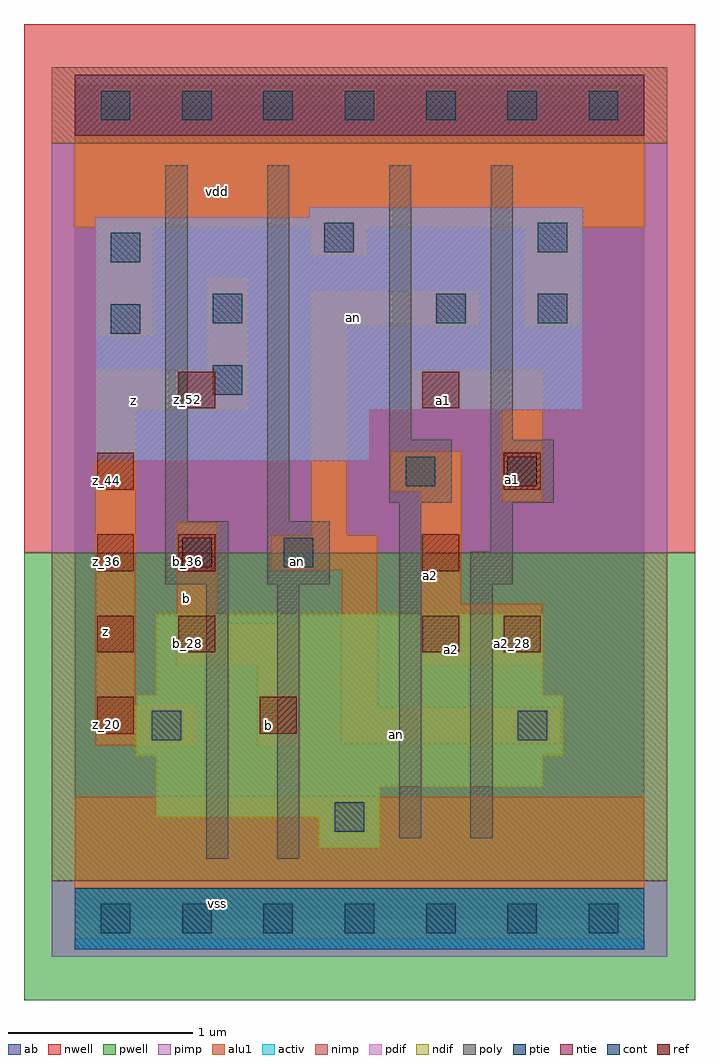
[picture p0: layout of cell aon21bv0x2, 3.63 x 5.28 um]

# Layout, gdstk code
import gdstk
lib = gdstk.Library(unit=1e-6, precision=2.5e-09)
def R(c, l, rs):  # rectangles x0, y0, x1, y1
    for r in rs: c.add(gdstk.rectangle(r[:2], r[2:], *l))
def A(c, l, x, y, w, h, nx, ny, dx, dy):  # array of equal rectangles
    R(c, l, [(x+i*dx, y+j*dy, x+i*dx+w, y+j*dy+h) for i in range(nx) for j in range(ny)])
ndif = (3, 0)
pdif = (4, 0)
ntie = (5, 0)
ptie = (6, 0)
ref = (24, 0)
cont = (25, 0)
pwell = (41, 0)
nwell = (42, 0)
activ = (43, 0)
pimp = (44, 0)
nimp = (45, 0)
poly = (46, 0)
alu1 = (49, 0)
ab = (63, 0)

aon21bv0x2 = lib.new_cell('aon21bv0x2')
R(aon21bv0x2, ndif, [(1.32,0.385,1.65,0.55), (0.44,0.55,1.65,0.715), (0.44,0.715,2.53,0.88), (0.33,0.88,2.64,1.21), (0.44,1.21,2.53,1.65)])
R(aon21bv0x2, pdif, [(0.11,2.475,1.595,2.75), (0.11,2.75,2.75,3.795), (1.265,3.795,2.75,3.85)])
R(aon21bv0x2, ntie, [(0,4.235,3.08,4.565)])
R(aon21bv0x2, ptie, [(0,-0.165,3.08,0.165)])
A(aon21bv0x2, ref, 0.12, 1, 0.2, 0.2, 1, 4, 0, 0.44)
R(aon21bv0x2, ref, [(1,1,1.2,1.2), (0.56,1.44,0.76,1.64), (1.88,1.44,2.08,1.64), (2.32,1.44,2.52,1.64), (0.56,1.88,0.76,2.08), (1.88,1.88,2.08,2.08), (2.32,2.32,2.52,2.52), (0.56,2.76,0.76,2.96), (1.88,2.76,2.08,2.96)])
A(aon21bv0x2, cont, 0.14, -0.08, 0.16, 0.16, 7, 2, 0.44, 4.4)
R(aon21bv0x2, cont, [(1.405,0.47,1.565,0.63), (0.415,0.965,0.575,1.125), (2.395,0.965,2.555,1.125), (0.58,1.9,0.74,2.06), (1.13,1.9,1.29,2.06), (1.79,2.34,1.95,2.5), (2.34,2.34,2.5,2.5), (0.745,2.835,0.905,2.995), (0.195,3.165,0.355,3.325), (0.745,3.22,0.905,3.38), (1.955,3.22,2.115,3.38), (2.505,3.22,2.665,3.38), (0.195,3.55,0.355,3.71), (1.35,3.605,1.51,3.765), (2.505,3.605,2.665,3.765)])
R(aon21bv0x2, pwell, [(-0.275,-0.44,3.355,1.98)])
R(aon21bv0x2, nwell, [(-0.275,1.98,3.355,4.84)])
R(aon21bv0x2, activ, [(0,-0.165,3.08,0.165), (1.32,0.385,1.65,0.55), (0.44,0.55,1.65,0.715), (0.44,0.715,2.53,0.88), (0.33,0.88,2.64,1.21), (0.44,1.21,2.53,1.65), (0.11,2.475,1.595,2.75), (0.11,2.75,2.75,3.795), (1.265,3.795,2.75,3.85), (0,4.235,3.08,4.565)])
R(aon21bv0x2, pimp, [(-0.125,-0.205,3.205,0.205), (-0.125,1.98,3.205,4.195)])
R(aon21bv0x2, nimp, [(-0.125,0.205,3.205,1.98), (-0.125,4.195,3.205,4.605)])
R(aon21bv0x2, poly, [(0.71,0.325,0.83,1.81), (1.095,0.325,1.215,1.81), (1.755,0.435,1.875,2.25), (2.14,0.435,2.26,1.81), (0.49,1.81,0.83,2.15), (1.04,1.81,1.38,2.15), (2.14,1.81,2.37,1.985), (2.25,1.985,2.37,2.25), (0.49,2.15,0.61,4.075), (1.04,2.15,1.16,4.075), (1.7,2.25,2.04,2.59), (2.25,2.25,2.59,2.59), (1.7,2.59,1.82,4.075), (2.25,2.59,2.37,4.075)])
R(aon21bv0x2, alu1, [(0,-0.11,3.08,0.66), (0.11,0.935,0.66,1.155), (0.99,0.935,1.21,1.375), (1.445,0.95,2.625,1.14), (1.445,1.14,1.635,1.885), (0.11,1.155,0.33,2.75), (0.55,1.375,1.21,1.595), (1.87,1.375,2.53,1.705), (0.55,1.595,0.77,2.145), (1.87,1.705,2.09,2.31), (1.06,1.885,1.635,2.075), (1.28,2.075,1.47,3.205), (2.31,2.255,2.53,2.75), (1.705,2.31,2.09,2.53), (0.11,2.75,0.935,2.97), (1.815,2.75,2.53,2.97), (0.715,2.97,0.935,3.465), (0.125,3.15,0.425,3.74), (1.28,3.205,2.185,3.395), (2.435,3.205,2.735,3.74), (1.28,3.59,1.58,3.74), (0,3.74,3.08,4.51)])
R(aon21bv0x2, ab, [(0,0,3.08,4.4)])
aon21bv0x2.add(gdstk.Label('vss', (0.77,0.0825), layer=49, texttype=0))
aon21bv0x2.add(gdstk.Label('an', (1.74,0.9975), layer=49, texttype=0))
aon21bv0x2.add(gdstk.Label('a2', (2.035,1.4575), layer=49, texttype=0))
aon21bv0x2.add(gdstk.Label('a1', (2.365,2.3775), layer=49, texttype=0))
aon21bv0x2.add(gdstk.Label('a2', (1.925,1.855), layer=49, texttype=0))
aon21bv0x2.add(gdstk.Label('b', (1.045,1.045), layer=49, texttype=0))
aon21bv0x2.add(gdstk.Label('an', (1.2025,1.9325), layer=49, texttype=0))
aon21bv0x2.add(gdstk.Label('a1', (1.9925,2.805), layer=49, texttype=0))
aon21bv0x2.add(gdstk.Label('b', (0.605,1.7325), layer=49, texttype=0))
aon21bv0x2.add(gdstk.Label('z', (0.165,1.5525), layer=49, texttype=0))
aon21bv0x2.add(gdstk.Label('an', (1.505,3.2525), layer=49, texttype=0))
aon21bv0x2.add(gdstk.Label('z', (0.315,2.805), layer=49, texttype=0))
aon21bv0x2.add(gdstk.Label('vdd', (0.77,3.9325), layer=49, texttype=0))
aon21bv0x2.add(gdstk.Label('b_28', (0.61,1.49), layer=24, texttype=0))
aon21bv0x2.add(gdstk.Label('b_36', (0.61,1.93), layer=24, texttype=0))
aon21bv0x2.add(gdstk.Label('z_52', (0.61,2.81), layer=24, texttype=0))
aon21bv0x2.add(gdstk.Label('b_20', (1.05,1.05), layer=24, texttype=0))
aon21bv0x2.add(gdstk.Label('a2_28', (1.93,1.49), layer=24, texttype=0))
aon21bv0x2.add(gdstk.Label('a2_36', (1.93,1.93), layer=24, texttype=0))
aon21bv0x2.add(gdstk.Label('a1_52', (1.93,2.81), layer=24, texttype=0))
aon21bv0x2.add(gdstk.Label('z_20', (0.17,1.05), layer=24, texttype=0))
aon21bv0x2.add(gdstk.Label('z_28', (0.17,1.49), layer=24, texttype=0))
aon21bv0x2.add(gdstk.Label('z_36', (0.17,1.93), layer=24, texttype=0))
aon21bv0x2.add(gdstk.Label('z_44', (0.17,2.37), layer=24, texttype=0))
aon21bv0x2.add(gdstk.Label('a2_28', (2.37,1.49), layer=24, texttype=0))
aon21bv0x2.add(gdstk.Label('a1_44', (2.37,2.37), layer=24, texttype=0))

lib.write_gds('aon21bv0x2.gds')
